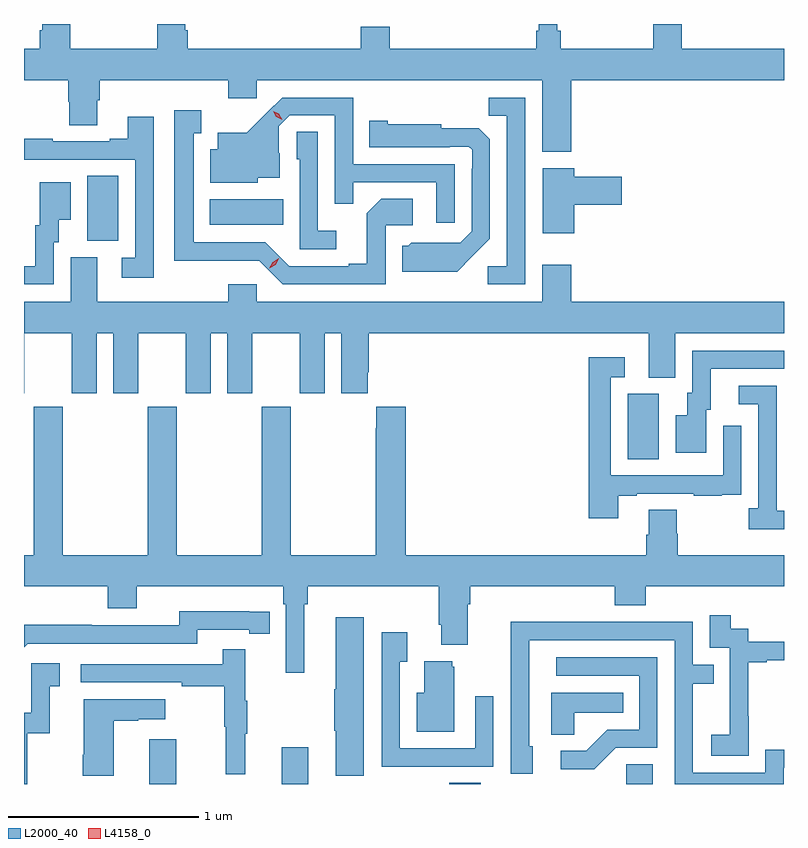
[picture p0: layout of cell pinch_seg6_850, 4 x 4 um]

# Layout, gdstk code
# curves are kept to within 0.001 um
import gdstk
lib = gdstk.Library(unit=1e-6, precision=1e-09)
def R(c, l, rs):  # rectangles x0, y0, x1, y1
    for r in rs: c.add(gdstk.rectangle(r[:2], r[2:], *l))
def P(c, l, *ps):  # polygons
    for p in ps: c.add(gdstk.Polygon(p, *l))
L2000_40 = (2000, 40)
L4158_0 = (4158, 0)

pinch_seg6_850 = lib.new_cell('pinch_seg6_850')
R(pinch_seg6_850, L2000_40, [(135.719,915.659,135.859,915.895), (136.415,915.659,136.555,915.853), (137.297,915.659,137.462,915.665), (138.228,915.659,138.367,915.764), (138.236,917.368,138.4,917.712), (135.392,918.517,135.556,918.86), (136.037,918.602,136.424,918.736)])
P(pinch_seg6_850, L2000_40, [(137.939,919.364),(139.059,919.364),(139.059,919.528),(138.522,919.528),(138.522,919.659),(138.371,919.659),(138.371,919.528),(137.885,919.528),(137.885,919.624),(137.866,919.624),(137.866,919.659),(137.769,919.659),(137.769,919.624),(137.756,919.624),(137.756,919.528),(136.984,919.528),(136.984,919.645),(136.832,919.645),(136.832,919.528),(135.92,919.528),(135.92,919.626),(135.907,919.626),(135.907,919.659),(135.76,919.659),(135.76,919.528),(135.303,919.528),(135.303,919.659),(135.155,919.659),(135.155,919.626),(135.143,919.626),(135.143,919.528),(135.059,919.528),(135.059,919.364),(135.293,919.364),(135.293,919.251),(135.298,919.251),(135.298,919.126),(135.445,919.126),(135.445,919.258),(135.458,919.258),(135.458,919.364),(136.133,919.364),(136.133,919.269),(136.284,919.269),(136.284,919.364),(137.786,919.364),(137.786,918.986),(137.939,918.986)],
  [(137.325,918.921),(136.791,918.921),(136.791,919.272),(136.418,919.272),(136.231,919.087),(136.079,919.087),(136.079,919),(136.04,919),(136.04,918.824),(136.29,918.824),(136.29,918.851),(136.405,918.851),(136.405,918.98),(136.401,918.98),(136.401,919.122),(136.458,919.179),(136.695,919.179),(136.695,918.712),(136.793,918.712),(136.793,918.825),(137.229,918.825),(137.229,918.612),(137.325,918.612)],
  [(137.697,919.272),(137.506,919.272),(137.506,919.177),(137.601,919.177),(137.601,918.384),(137.499,918.384),(137.499,918.288),(137.697,918.288)],
  [(136.962,918.6),(137.104,918.6),(137.104,918.74),(136.939,918.74),(136.863,918.664),(136.863,918.397),(136.769,918.397),(136.769,918.384),(136.455,918.384),(136.329,918.51),(135.952,918.51),(135.952,919.083),(135.991,919.083),(135.991,919.204),(135.851,919.204),(135.851,918.413),(136.296,918.414),(136.422,918.288),(136.962,918.288)],
  [(135.741,919.171),(135.605,919.171),(135.605,919.054),(135.509,919.054),(135.509,919.041),(135.209,919.041),(135.209,919.054),(135.061,919.054),(135.061,919.047),(135.059,919.047),(135.059,918.945),(135.645,918.945),(135.645,918.429),(135.573,918.429),(135.573,918.324),(135.741,918.324)],
  [(137.419,918.437),(137.511,918.53),(137.511,919.052),(137.452,919.111),(137.256,919.111),(137.256,919.132),(136.974,919.132),(136.974,919.15),(136.876,919.15),(136.876,919.01),(137.3,919.01),(137.3,919.014),(137.4,919.014),(137.418,918.996),(137.418,918.896),(137.415,918.896),(137.415,918.567),(137.355,918.507),(137.098,918.508),(137.082,918.492),(137.051,918.492),(137.051,918.356),(137.339,918.356)],
  [(136.702,918.571),(136.605,918.571),(136.605,919.091),(136.494,919.091),(136.494,918.948),(136.509,918.948),(136.509,918.474),(136.702,918.474)],
  [(137.956,918.707),(138.205,918.707),(138.205,918.854),(137.956,918.854),(137.956,918.901),(137.789,918.901),(137.789,918.558),(137.956,918.558)],
  [(135.216,918.51),(135.241,918.51),(135.241,918.629),(135.304,918.629),(135.304,918.826),(135.143,918.826),(135.143,918.6),(135.119,918.6),(135.119,918.384),(135.059,918.384),(135.059,918.288),(135.216,918.288)],
  [(135.445,918.432),(135.305,918.432),(135.305,918.196),(135.059,918.196),(135.059,917.715),(135.061,917.715),(135.061,918.032),(135.311,918.032),(135.311,917.715),(135.442,917.715),(135.442,918.032),(135.53,918.032),(135.53,917.715),(135.661,917.715),(135.661,918.032),(135.911,918.032),(135.911,917.715),(136.042,917.715),(136.042,918.032),(136.13,918.032),(136.13,917.715),(136.261,917.715),(136.261,918.032),(136.511,918.032),(136.511,917.715),(136.642,917.715),(136.642,918.032),(136.73,918.032),(136.73,917.715),(136.867,917.715),(136.867,917.827),(136.874,917.827),(136.874,918.032),(138.347,918.032),(138.347,917.797),(138.487,917.797),(138.487,918.032),(139.059,918.032),(139.059,918.196),(137.939,918.196),(137.939,918.391),(137.786,918.391),(137.786,918.196),(136.284,918.196),(136.284,918.289),(136.133,918.289),(136.133,918.196),(135.445,918.196)],
  [(138.649,917.628),(138.673,917.628),(138.673,917.844),(139.059,917.844),(139.059,917.94),(138.576,917.94),(138.576,917.718),(138.551,917.718),(138.551,917.599),(138.488,917.599),(138.488,917.403),(138.649,917.403)],
  [(138.187,917.175),(138.283,917.175),(138.283,917.187),(138.583,917.187),(138.583,917.175),(138.731,917.175),(138.731,917.181),(138.833,917.181),(138.833,917.29),(138.834,917.29),(138.834,917.545),(138.738,917.545),(138.738,917.283),(138.147,917.283),(138.147,917.799),(138.22,917.799),(138.22,917.905),(138.031,917.905),(138.031,917.058),(138.187,917.058)],
  [(139.059,917.097),(139.021,917.097),(139.021,917.297),(139.02,917.297),(139.02,917.754),(138.822,917.754),(138.822,917.658),(138.924,917.658),(138.924,917.11),(138.873,917.11),(138.873,917),(139.059,917)],
  [(137.069,917.644),(136.913,917.644),(136.913,917.531),(136.909,917.531),(136.909,916.864),(136.464,916.864),(136.464,917.644),(136.309,917.644),(136.309,916.864),(135.864,916.864),(135.864,917.644),(135.709,917.644),(135.709,916.864),(135.264,916.864),(135.264,917.644),(135.109,917.644),(135.109,916.864),(135.059,916.864),(135.059,916.7),(135.5,916.7),(135.5,916.583),(135.652,916.583),(135.652,916.7),(136.424,916.7),(136.424,916.604),(136.437,916.604),(136.437,916.245),(136.534,916.245),(136.534,916.604),(136.553,916.604),(136.553,916.7),(137.243,916.7),(137.243,916.498),(137.255,916.498),(137.255,916.391),(137.395,916.391),(137.395,916.604),(137.408,916.604),(137.408,916.7),(138.167,916.7),(138.167,916.601),(138.332,916.601),(138.332,916.7),(139.059,916.7),(139.059,916.864),(138.5,916.864),(138.5,916.977),(138.495,916.977),(138.495,917.102),(138.347,917.102),(138.347,916.97),(138.335,916.97),(138.335,916.864),(137.069,916.864)],
  [(135.078,916.398),(135.972,916.398),(135.972,916.47),(136.244,916.47),(136.244,916.45),(136.352,916.45),(136.352,916.566),(135.876,916.567),(135.876,916.494),(135.416,916.494),(135.416,916.496),(135.059,916.496),(135.059,916.379)],
  [(138.873,916.015),(138.872,916.015),(138.872,916.299),(138.967,916.299),(138.967,916.311),(139.059,916.311),(139.059,916.407),(138.87,916.407),(138.87,916.476),(138.778,916.476),(138.778,916.546),(138.669,916.546),(138.669,916.377),(138.774,916.377),(138.774,916.148),(138.773,916.148),(138.773,915.919),(138.675,915.919),(138.675,915.809),(138.873,915.809)],
  [(136.846,916.537),(136.7,916.537),(136.7,916.157),(136.693,916.157),(136.693,915.94),(136.7,915.94),(136.7,915.702),(136.846,915.702)],
  [(139.057,915.744),(139.059,915.744),(139.059,915.84),(138.96,915.84),(138.96,915.717),(138.579,915.717),(138.579,916.186),(138.689,916.186),(138.689,916.287),(138.579,916.287),(138.579,916.512),(138.083,916.512),(138.083,916.514),(137.62,916.514),(137.62,916.207),(137.622,916.207),(137.622,915.714),(137.737,915.714),(137.737,915.858),(137.718,915.858),(137.718,916.416),(138.483,916.416),(138.483,915.659),(139.057,915.659)],
  [(137.213,915.75),(137.529,915.75),(137.529,916.12),(137.433,916.12),(137.433,915.846),(137.037,915.846),(137.037,916.303),(137.077,916.303),(137.077,916.459),(136.941,916.459),(136.941,915.749),(137.213,915.749)],
  [(136.223,915.923),(136.234,915.923),(136.234,916.097),(136.223,916.097),(136.223,916.369),(136.105,916.369),(136.105,916.29),(135.357,916.29),(135.357,916.194),(135.889,916.194),(135.889,916.174),(136.113,916.174),(136.113,915.96),(136.12,915.96),(136.12,915.711),(136.223,915.711)],
  [(138.174,915.849),(138.393,915.849),(138.393,916.326),(137.859,916.326),(137.859,916.23),(138.297,916.23),(138.297,915.945),(138.128,915.945),(138.017,915.834),(137.883,915.834),(137.883,915.737),(138.061,915.737)],
  [(137.323,916.275),(137.312,916.275),(137.312,916.306),(137.165,916.306),(137.165,916.138),(137.126,916.138),(137.126,915.935),(137.323,915.935)],
  [(135.076,915.927),(135.194,915.927),(135.194,916.173),(135.247,916.173),(135.247,916.294),(135.096,916.294),(135.096,916.035),(135.059,916.035),(135.059,915.659),(135.076,915.659)],
  [(137.955,916.034),(138.212,916.034),(138.212,916.138),(137.834,916.138),(137.834,915.919),(137.955,915.919)],
  [(135.532,915.991),(135.659,915.991),(135.659,916.001),(135.802,916.001),(135.802,916.105),(135.374,916.105),(135.374,915.814),(135.367,915.814),(135.367,915.702),(135.532,915.702)])
P(pinch_seg6_850, L4158_0, [(136.418,919.156),(136.387,919.171),(136.37,919.201),(136.37,919.201),(136.371,919.201),(136.401,919.186),(136.418,919.156),(136.418,919.156)],
  [(136.351,918.373),(136.351,918.373),(136.369,918.406),(136.401,918.425),(136.401,918.425),(136.401,918.425),(136.383,918.392),(136.351,918.373)])

lib.write_gds('pinch_seg6_850.gds')
